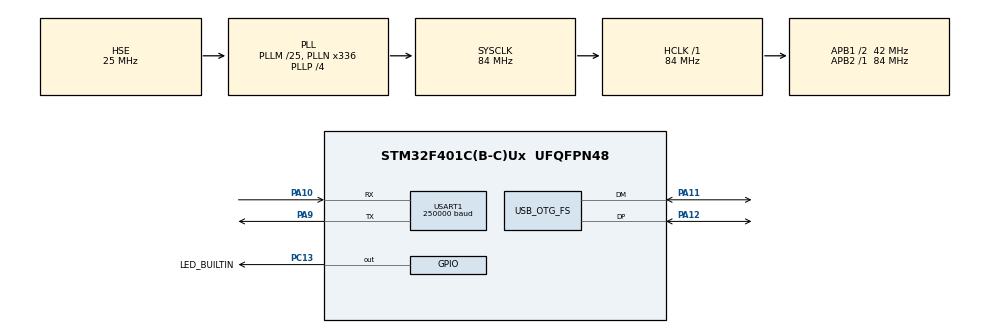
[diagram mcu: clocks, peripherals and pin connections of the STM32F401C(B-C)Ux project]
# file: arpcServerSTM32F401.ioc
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Mcu.Family=STM32F4
Mcu.Name=STM32F401C(B-C)Ux
Mcu.Package=UFQFPN48
NVIC.OTG_FS_IRQn=true\:0\:0\:false\:false\:true\:false\:true\:true
NVIC.PriorityGroup=NVIC_PRIORITYGROUP_4
PA10.Mode=Asynchronous
PA10.Signal=USART1_RX
PA11.Mode=Device_Only
PA11.Signal=USB_OTG_FS_DM
PA12.Mode=Device_Only
PA12.Signal=USB_OTG_FS_DP
PA9.Mode=Asynchronous
PA9.Signal=USART1_TX
PC13-ANTI_TAMP.GPIO_Label=LED_BUILTIN
PC13-ANTI_TAMP.Signal=GPIO_Output
PH0\ -\ OSC_IN.Mode=HSE-External-Oscillator
PH0\ -\ OSC_IN.Signal=RCC_OSC_IN
PH1\ -\ OSC_OUT.Mode=HSE-External-Oscillator
PH1\ -\ OSC_OUT.Signal=RCC_OSC_OUT
ProjectManager.HeapSize=0x200
ProjectManager.StackSize=0x400
ProjectManager.TargetToolchain=STM32CubeIDE
RCC.48MHZClocksFreq_Value=48000000
RCC.AHBFreq_Value=84000000
RCC.APB1CLKDivider=RCC_HCLK_DIV2
RCC.APB1Freq_Value=42000000
RCC.APB1TimFreq_Value=84000000
RCC.APB2Freq_Value=84000000
RCC.APB2TimFreq_Value=84000000
RCC.CortexFreq_Value=84000000
RCC.HCLKFreq_Value=84000000
RCC.HSE_VALUE=25000000
RCC.HSI_VALUE=16000000
RCC.LSE_VALUE=32768
RCC.PLLM=25
RCC.PLLN=336
RCC.PLLP=RCC_PLLP_DIV4
RCC.PLLQ=7
RCC.SYSCLKFreq_VALUE=84000000
RCC.SYSCLKSource=RCC_SYSCLKSOURCE_PLLCLK
RCC.VCOOutputFreq_Value=336000000
USART1.BaudRate=250000
USART1.VirtualMode=VM_ASYNC
USB_DEVICE.CLASS_NAME_FS=CDC
USB_DEVICE.CONFIGURATION_STRING_CDC_FS=ARPC Config
USB_DEVICE.INTERFACE_STRING_CDC_FS=ARPC Interface
USB_DEVICE.MANUFACTURER_STRING=ARPC
USB_DEVICE.PRODUCT_STRING_CDC_FS=ARPC VCP
USB_DEVICE.VirtualMode=Cdc
USB_DEVICE.VirtualModeFS=Cdc_FS
USB_OTG_FS.VirtualMode=Device_Only
VP_USB_DEVICE_VS_USB_DEVICE_CDC_FS.Mode=CDC_FS
board=custom

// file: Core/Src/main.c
/* USER CODE BEGIN Header */
/**
 ******************************************************************************
 * @file           : main.c
 * @brief          : Main program body
 ******************************************************************************
 * @attention
 *
 * Copyright (c) 2023 STMicroelectronics.
 * All rights reserved.
 *
 * This software is licensed under terms that can be found in the LICENSE file
 * in the root directory of this software component.
 * If no LICENSE file comes with this software, it is provided AS-IS.
 *
 ******************************************************************************
 */
/* USER CODE END Header */
#include "main.h"
#include "usb_device.h"

/* USER CODE BEGIN Includes */
#include "arpc_server.h"

//#define USE_VCOM

#ifdef USE_VCOM
#include "usbd_cdc_if.h"
#include <stdio.h>
#endif
/* USER CODE END Includes */

UART_HandleTypeDef huart1;

void SystemClock_Config(void);
static void MX_GPIO_Init(void);
static void MX_USART1_UART_Init(void);

/* USER CODE BEGIN 0 */

RPC void HAL_Delay(uint32_t Delay);
RPC void setLED(uint8_t value);

void setLED(uint8_t value) {
  HAL_GPIO_WritePin(LED_BUILTIN_GPIO_Port, LED_BUILTIN_Pin,
                    (GPIO_PinState)value);
}

void shutdown(uint8_t errorCode) {
  __disable_irq();
  for (;;) {
    HAL_GPIO_TogglePin(LED_BUILTIN_GPIO_Port, LED_BUILTIN_Pin);
    HAL_Delay(100);
  }
}

void sendByte(uint8_t byte) {
#ifdef USE_VCOM
  while (CDC_Transmit_FS(&byte, 1) != USBD_OK) {

  }
#else
  if (HAL_UART_Transmit(&huart1, &byte, 1, 1000) != HAL_OK){
	  shutdown(0);
  }

#endif
}

#ifdef USE_VCOM
int __io_putchar(int file, char *ptr, int len) {
  static uint8_t rc = USBD_OK;

  do {
    rc = CDC_Transmit_FS(ptr, len);
  } while (USBD_BUSY == rc);

  if (USBD_FAIL == rc) {
    shutdown(USBD_FAIL);
    return 0;
  }
  return len;
}
#endif
/* USER CODE END 0 */

int main(void)
{

  /* MCU Configuration--------------------------------------------------------*/

  /* Reset of all peripherals, Initializes the Flash interface and the Systick. */
  HAL_Init();

  /* Configure the system clock */
  SystemClock_Config();

  /* Initialize all configured peripherals */
  MX_GPIO_Init();
  MX_USART1_UART_Init();
  MX_USB_DEVICE_Init();
  /* USER CODE BEGIN 2 */

  setLED(1);

  /* USER CODE END 2 */

  /* Infinite loop */
  /* USER CODE BEGIN WHILE */

  while (1) {
#ifndef USE_VCOM
    static uint8_t byte = 0;
    if (HAL_UART_Receive(&huart1, &byte, 1, 100) == HAL_OK) {
      arpcByteReceived(byte);
    }
#endif
    /* USER CODE END WHILE */

  }
}

void SystemClock_Config(void)
{
  RCC_OscInitTypeDef RCC_OscInitStruct = {0};
  RCC_ClkInitTypeDef RCC_ClkInitStruct = {0};

  /** Configure the main internal regulator output voltage
  */
  __HAL_RCC_PWR_CLK_ENABLE();
  __HAL_PWR_VOLTAGESCALING_CONFIG(PWR_REGULATOR_VOLTAGE_SCALE2);

  /** Initializes the RCC Oscillators according to the specified parameters
  * in the RCC_OscInitTypeDef structure.
  */
  RCC_OscInitStruct.OscillatorType = RCC_OSCILLATORTYPE_HSE;
  RCC_OscInitStruct.HSEState = RCC_HSE_ON;
  RCC_OscInitStruct.PLL.PLLState = RCC_PLL_ON;
  RCC_OscInitStruct.PLL.PLLSource = RCC_PLLSOURCE_HSE;
  RCC_OscInitStruct.PLL.PLLM = 25;
  RCC_OscInitStruct.PLL.PLLN = 336;
  RCC_OscInitStruct.PLL.PLLP = RCC_PLLP_DIV4;
  RCC_OscInitStruct.PLL.PLLQ = 7;
  if (HAL_RCC_OscConfig(&RCC_OscInitStruct) != HAL_OK)
  {
    Error_Handler();
  }

  /** Initializes the CPU, AHB and APB buses clocks
  */
  RCC_ClkInitStruct.ClockType = RCC_CLOCKTYPE_HCLK|RCC_CLOCKTYPE_SYSCLK
                              |RCC_CLOCKTYPE_PCLK1|RCC_CLOCKTYPE_PCLK2;
  RCC_ClkInitStruct.SYSCLKSource = RCC_SYSCLKSOURCE_PLLCLK;
  RCC_ClkInitStruct.AHBCLKDivider = RCC_SYSCLK_DIV1;
  RCC_ClkInitStruct.APB1CLKDivider = RCC_HCLK_DIV2;
  RCC_ClkInitStruct.APB2CLKDivider = RCC_HCLK_DIV1;

  if (HAL_RCC_ClockConfig(&RCC_ClkInitStruct, FLASH_LATENCY_2) != HAL_OK)
  {
    Error_Handler();
  }
}

static void MX_USART1_UART_Init(void)
{

  huart1.Instance = USART1;
  huart1.Init.BaudRate = 250000;
  huart1.Init.WordLength = UART_WORDLENGTH_8B;
  huart1.Init.StopBits = UART_STOPBITS_1;
  huart1.Init.Parity = UART_PARITY_NONE;
  huart1.Init.Mode = UART_MODE_TX_RX;
  huart1.Init.HwFlowCtl = UART_HWCONTROL_NONE;
  huart1.Init.OverSampling = UART_OVERSAMPLING_16;
  if (HAL_UART_Init(&huart1) != HAL_OK)
  {
    Error_Handler();
  }

}

static void MX_GPIO_Init(void)
{
  GPIO_InitTypeDef GPIO_InitStruct = {0};

  /* GPIO Ports Clock Enable */
  __HAL_RCC_GPIOC_CLK_ENABLE();
  __HAL_RCC_GPIOH_CLK_ENABLE();
  __HAL_RCC_GPIOA_CLK_ENABLE();

  /*Configure GPIO pin Output Level */
  HAL_GPIO_WritePin(LED_BUILTIN_GPIO_Port, LED_BUILTIN_Pin, GPIO_PIN_RESET);

  /*Configure GPIO pin : LED_BUILTIN_Pin */
  GPIO_InitStruct.Pin = LED_BUILTIN_Pin;
  GPIO_InitStruct.Mode = GPIO_MODE_OUTPUT_PP;
  GPIO_InitStruct.Pull = GPIO_NOPULL;
  GPIO_InitStruct.Speed = GPIO_SPEED_FREQ_LOW;
  HAL_GPIO_Init(LED_BUILTIN_GPIO_Port, &GPIO_InitStruct);

}

void Error_Handler(void)
{
  __disable_irq();
  while (1) {
  }
}

#ifdef  USE_FULL_ASSERT
/**
  * @brief  Reports the name of the source file and the source line number
  *         where the assert_param error has occurred.
  * @param  file: pointer to the source file name
  * @param  line: assert_param error line source number
  * @retval None
  */
void assert_failed(uint8_t *file, uint32_t line)
{
  /* USER CODE BEGIN 6 */
  /* User can add his own implementation to report the file name and line
     number,
     ex: printf("Wrong parameters value: file %s on line %d\r\n", file, line) */
  /* USER CODE END 6 */
}
#endif /* USE_FULL_ASSERT */
